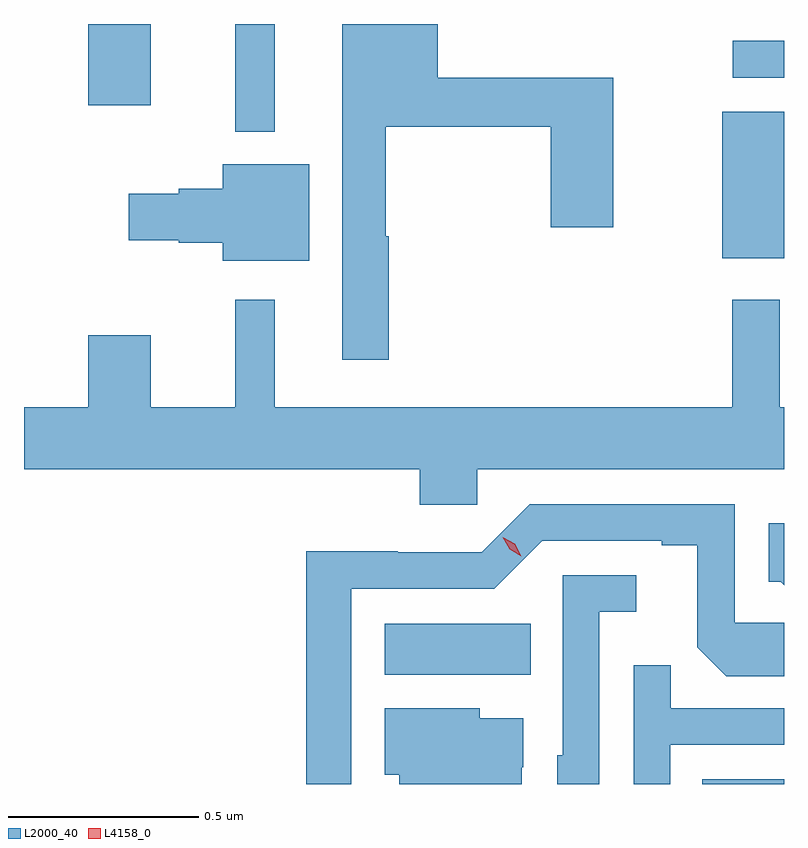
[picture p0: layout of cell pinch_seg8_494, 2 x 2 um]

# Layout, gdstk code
import gdstk
lib = gdstk.Library(unit=1e-6, precision=1e-09)
def R(c, l, rs):  # rectangles x0, y0, x1, y1
    for r in rs: c.add(gdstk.rectangle(r[:2], r[2:], *l))
def P(c, l, *ps):  # polygons
    for p in ps: c.add(gdstk.Polygon(p, *l))
L2000_40 = (2000, 40)
L4158_0 = (4158, 0)

pinch_seg8_494 = lib.new_cell('pinch_seg8_494')
R(pinch_seg8_494, L2000_40, [(178.612,1135.652,178.827,1135.665), (177.776,1135.94,178.16,1136.074), (178.664,1137.035,178.827,1137.421), (177.383,1137.368,177.487,1137.652), (176.996,1137.438,177.16,1137.652), (178.692,1137.51,178.827,1137.608)])
P(pinch_seg8_494, L2000_40, [(177.787,1137.093),(177.779,1137.093),(177.779,1137.382),(178.213,1137.382),(178.213,1137.117),(178.378,1137.117),(178.378,1137.511),(177.916,1137.511),(177.916,1137.652),(177.665,1137.652),(177.665,1136.769),(177.787,1136.769)],
  [(177.577,1137.283),(177.35,1137.283),(177.35,1137.218),(177.234,1137.218),(177.234,1137.205),(177.102,1137.205),(177.102,1137.083),(177.234,1137.083),(177.234,1137.076),(177.35,1137.076),(177.35,1137.029),(177.577,1137.029)],
  [(178.02,1136.48),(178.827,1136.48),(178.827,1136.644),(178.816,1136.644),(178.816,1136.926),(178.691,1136.926),(178.691,1136.644),(177.487,1136.644),(177.487,1136.926),(177.383,1136.926),(177.383,1136.644),(177.16,1136.644),(177.16,1136.833),(176.996,1136.833),(176.996,1136.644),(176.827,1136.644),(176.827,1136.48),(177.869,1136.48),(177.869,1136.387),(178.02,1136.387)],
  [(177.688,1136.166),(178.065,1136.166),(178.191,1136.292),(178.505,1136.292),(178.505,1136.28),(178.599,1136.28),(178.599,1136.012),(178.675,1135.936),(178.827,1135.936),(178.827,1136.076),(178.698,1136.076),(178.698,1136.388),(178.158,1136.388),(178.032,1136.262),(177.81,1136.262),(177.81,1136.264),(177.57,1136.264),(177.57,1135.652),(177.688,1135.652)],
  [(178.827,1136.338),(178.787,1136.338),(178.787,1136.184),(178.818,1136.184),(178.827,1136.175)],
  [(178.341,1136.105),(178.438,1136.105),(178.438,1136.202),(178.245,1136.202),(178.245,1135.728),(178.23,1135.728),(178.23,1135.652),(178.341,1135.652)],
  [(178.527,1135.755),(178.827,1135.755),(178.827,1135.851),(178.529,1135.851),(178.529,1135.964),(178.431,1135.964),(178.431,1135.652),(178.527,1135.652)],
  [(178.137,1135.696),(178.141,1135.696),(178.141,1135.825),(178.026,1135.825),(178.026,1135.852),(177.776,1135.852),(177.776,1135.676),(177.815,1135.676),(177.815,1135.652),(178.137,1135.652)])
P(pinch_seg8_494, L4158_0, [(178.136,1136.251),(178.105,1136.27),(178.087,1136.302),(178.087,1136.302),(178.087,1136.302),(178.119,1136.284),(178.136,1136.251),(178.136,1136.251)])

lib.write_gds('pinch_seg8_494.gds')
